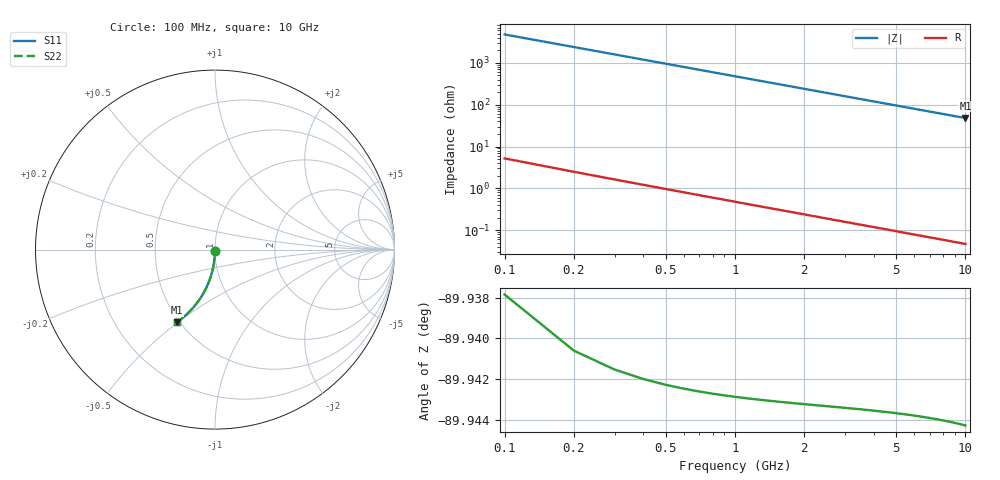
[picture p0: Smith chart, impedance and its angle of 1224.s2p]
# Hz S RI R 50.00
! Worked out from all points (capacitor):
!   100 points, 100 MHz to 10 GHz, reference 50 ohm
!   read as one part in shunt: C = 332 fF near 100 MHz
!   lowest |Z| = 48 ohm at 10 GHz (marker M1)
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1e8  6.5e-06 -0.00518  0.9999 -0.00526  0.9999 -0.00526  6.5e-06 -0.00518
2e8  -8.02e-05 -0.0104  0.9998 -0.0105  0.9998 -0.0105  -8.02e-05 -0.0104
3e8  -0.000221 -0.0155  0.9997 -0.0158  0.9997 -0.0158  -0.000221 -0.0155
4e8  -0.000417 -0.0207  0.9995 -0.021  0.9995 -0.021  -0.000417 -0.0207
5e8  -0.000667 -0.0259  0.9993 -0.0263  0.9993 -0.0263  -0.000667 -0.0259
6e8  -0.000971 -0.031  0.9989 -0.0316  0.9989 -0.0316  -0.000971 -0.031
7e8  -0.00133 -0.0362  0.9986 -0.0368  0.9986 -0.0368  -0.00133 -0.0362
8e8  -0.00174 -0.0413  0.9982 -0.042  0.9982 -0.042  -0.00174 -0.0413
9e8  -0.00221 -0.0465  0.9977 -0.0473  0.9977 -0.0473  -0.00221 -0.0465
1.1e9  -0.0033 -0.0568  0.9966 -0.0577  0.9966 -0.0577  -0.0033 -0.0568
1.4e9  -0.00534 -0.0721  0.9946 -0.0733  0.9946 -0.0733  -0.00534 -0.0721
1.8e9  -0.0088 -0.0924  0.9911 -0.0939  0.9911 -0.0939  -0.0088 -0.0924
2.1e9  -0.0119 -0.1074  0.988 -0.1092  0.988 -0.1092  -0.0119 -0.1074
2.5e9  -0.0168 -0.1272  0.9831 -0.1294  0.9831 -0.1294  -0.0168 -0.1272
2.9e9  -0.0225 -0.1467  0.9774 -0.1492  0.9774 -0.1492  -0.0225 -0.1467
3.4e9  -0.0307 -0.1705  0.9693 -0.1735  0.9693 -0.1735  -0.0307 -0.1705
4.2e9  -0.046 -0.2073  0.9539 -0.2109  0.9539 -0.2109  -0.046 -0.2073
5.1e9  -0.0664 -0.2463  0.9335 -0.2507  0.9335 -0.2507  -0.0664 -0.2463
5.9e9  -0.0868 -0.2786  0.9131 -0.2837  0.9131 -0.2837  -0.0868 -0.2786
6.7e9  -0.1092 -0.3085  0.8907 -0.3144  0.8907 -0.3144  -0.1092 -0.3085
8.4e9  -0.1614 -0.3638  0.8384 -0.3712  0.8384 -0.3712  -0.1614 -0.3638
1e10  -0.2143 -0.4055  0.7856 -0.4143  0.7856 -0.4143  -0.2143 -0.4055
